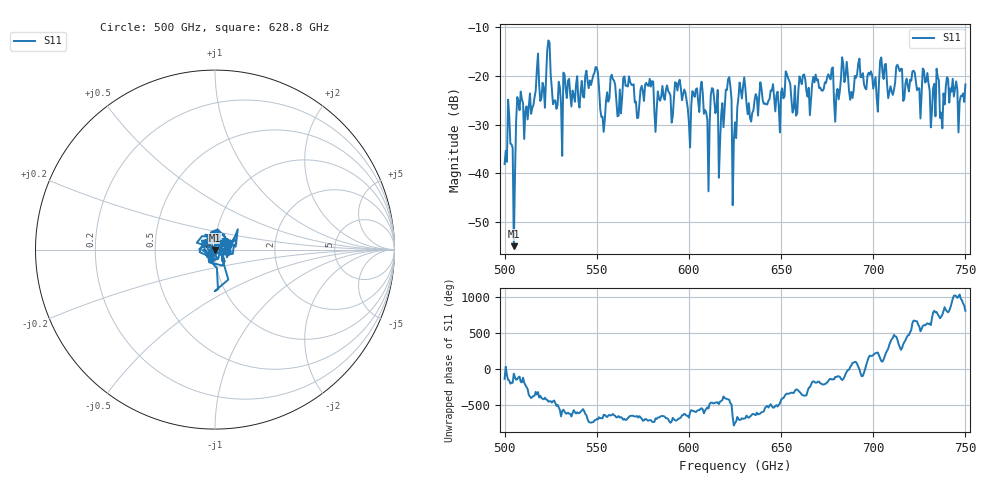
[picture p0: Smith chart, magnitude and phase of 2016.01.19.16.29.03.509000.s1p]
!Created with skrf (http://scikit-rf.org).
# GHz S RI R 50.0
!freq ReS11 ImS11
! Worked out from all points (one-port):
!   401 points, 500 GHz to 750 GHz, reference 50 ohm
!   lowest |S11| = -55.0 dB at 505 GHz (marker M1), VSWR 1.00, Z = 50.1 - j0.16 ohm
!   |S11| at or under -10 dB: start of sweep to end of sweep
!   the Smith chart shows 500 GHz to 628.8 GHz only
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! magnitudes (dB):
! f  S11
! 500 GHz  -38.1
! 503.1 GHz  -33.9
! 505 GHz  -55.0
! 508.1 GHz  -27.0
! 520.6 GHz  -21.4
! 523.8 GHz  -12.7
! 526.9 GHz  -25.1
! 531.2 GHz  -36.4
! 549.4 GHz  -18.1
! 553.1 GHz  -28.4
! 558.8 GHz  -20.7
! 562.5 GHz  -22.8
! 593.8 GHz  -23.0
! 600 GHz  -29.6
! 607.5 GHz  -23.5
! 610 GHz  -29.0
! 613.1 GHz  -22.7
! 617.5 GHz  -28.0
! 621.2 GHz  -20.7
! 625 GHz  -29.5
! 628.8 GHz  -24.6
! 633.1 GHz  -28.7
! 656.2 GHz  -27.5
! 684.4 GHz  -21.3
! 687.5 GHz  -24.9
! 718.8 GHz  -22.0
! 737.5 GHz  -30.8
! 750 GHz  -21.7
